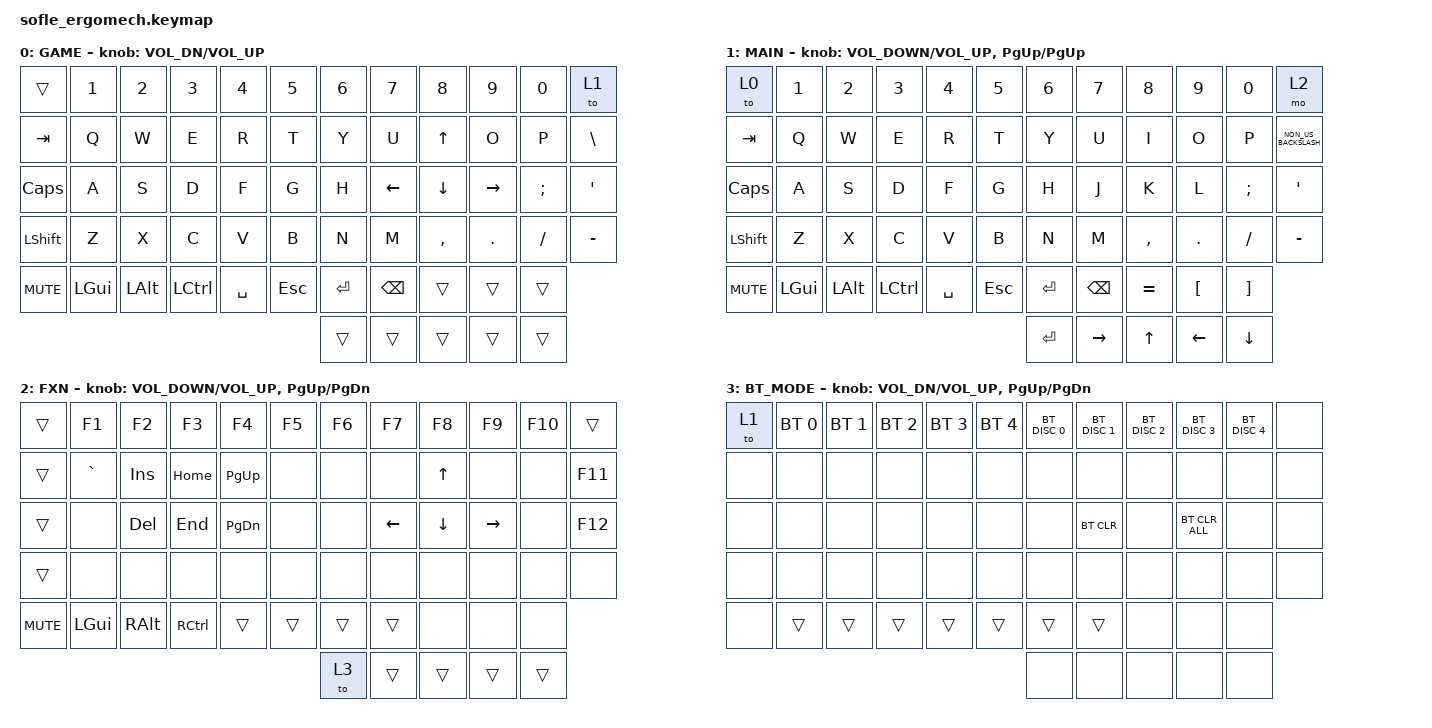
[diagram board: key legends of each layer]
/*
 * Copyright (c) 2020 The ZMK Contributors
 *
 * SPDX-License-Identifier: MIT
 */

#include <behaviors.dtsi>
#include <dt-bindings/zmk/bt.h>
#include <dt-bindings/zmk/keys.h>

#define BASE 0
#define LOWER 1
#define RAISE 2
#define ADJUST 3

/ {
    // Activate ADJUST layer by pressing raise and lower

    conditional_layers { compatible = "zmk,conditional-layers"; };

    keymap {
        compatible = "zmk,keymap";

        Game {
            bindings = <
&trans      &kp N1    &kp N2    &kp N3     &kp N4     &kp N5   &kp N6   &kp N7    &kp N8     &kp N9     &kp N0    &to 1
&kp TAB     &kp Q     &kp W     &kp E      &kp R      &kp T    &kp Y    &kp U     &kp UP     &kp O      &kp P     &kp BSLH
&kp CAPS    &kp A     &kp S     &kp D      &kp F      &kp G    &kp H    &kp LEFT  &kp DOWN   &kp RIGHT  &kp SEMI  &kp SQT
&kp LSHFT   &kp Z     &kp X     &kp C      &kp V      &kp B    &kp N    &kp M     &kp COMMA  &kp DOT    &kp FSLH  &kp MINUS
&kp C_MUTE  &kp LGUI  &kp LALT  &kp LCTRL  &kp SPACE  &kp ESC  &kp RET  &kp BSPC  &trans     &trans     &trans
                                                               &trans   &trans    &trans     &trans     &trans
            >;

            sensor-bindings = <&inc_dec_kp C_VOL_DN C_VOL_UP>;
            label = "GAME";
        };

        Main {
            label = "MAIN";

            // ------------------------------------------------------------------------------------------------------------
            // |   `   |  1  |  2  |  3   |  4   |  5   |                   |  6   |  7    |  8    |  9   |   0   |       |
            // |  ESC  |  Q  |  W  |  E   |  R   |  T   |                   |  Y   |  U    |  I    |  O   |   P   | BKSPC |
            // |  TAB  |  A  |  S  |  D   |  F   |  G   |                   |  H   |  J    |  K    |  L   |   ;   |   '   |
            // | SHIFT |  Z  |  X  |  C   |  V   |  B   |  MUTE  |  |       |  N   |  M    |  ,    |  .   |   /   | SHIFT |
            //               | GUI | ALT  | CTRL | LOWER|  ENTER |  | SPACE | RAISE| CTRL  | ALT   | GUI  |

            bindings = <
&to 0       &kp N1    &kp N2    &kp N3     &kp N4     &kp N5   &kp N6     &kp N7     &kp N8        &kp N9            &kp N0             &mo 2
&kp TAB     &kp Q     &kp W     &kp E      &kp R      &kp T    &kp Y      &kp U      &kp I         &kp O             &kp P              &kp NON_US_BACKSLASH
&kp CAPS    &kp A     &kp S     &kp D      &kp F      &kp G    &kp H      &kp J      &kp K         &kp L             &kp SEMI           &kp SQT
&kp LSHFT   &kp Z     &kp X     &kp C      &kp V      &kp B    &kp N      &kp M      &kp COMMA     &kp DOT           &kp FSLH           &kp MINUS
&kp C_MUTE  &kp LGUI  &kp LALT  &kp LCTRL  &kp SPACE  &kp ESC  &kp ENTER  &kp BSPC   &kp EQUAL     &kp LEFT_BRACKET  &kp RIGHT_BRACKET
                                                               &kp ENTER  &kp RIGHT  &kp UP_ARROW  &kp LEFT          &kp DOWN
            >;

            sensor-bindings =
                <&inc_dec_kp C_VOLUME_DOWN C_VOLUME_UP>,
                <&inc_dec_kp PG_UP PG_UP>;
        };

        Function {
            label = "FXN";

            // TODO: Some binds are waiting for shifted keycode support.
            // ------------------------------------------------------------------------------------------------------------
            // |       |  F1 |  F2 |  F3  |  F4  |  F5  |                   |  F6  |  F7   |  F8   |  F9  |  F10  |  F11  |
            // |   `   |  1  |  2  |  3   |  4   |  5   |                   |  6   |  7    |  8    |  9   |   0   |  F12  |
            // |       |  !  |  @  |  #   |  $   |  %   |                   |  ^   |  &    |  *    |  (   |   )   |   |   |
            // |       |  =  |  -  |  +   |  {   |  }   |        |  |       |  [   |  ]    |  ;    |  :   |   \   |       |
            //               |     |      |      |      |        |  |       |      |       |       |      |

            bindings = <
&trans      &kp F1        &kp F2         &kp F3     &kp F4         &kp F5  &kp F6  &kp F7    &kp F8        &kp F9     &kp F10  &trans
&trans      &kp GRAVE     &kp INSERT     &kp HOME   &kp PAGE_UP    &none   &none   &none     &kp UP_ARROW  &none      &none    &kp F11
&trans      &none         &kp DEL        &kp END    &kp PAGE_DOWN  &none   &none   &kp LEFT  &kp DOWN      &kp RIGHT  &none    &kp F12
&trans      &none         &none          &none      &none          &none   &none   &none     &none         &none      &none    &none
&kp C_MUTE  &kp LEFT_GUI  &kp RIGHT_ALT  &kp RCTRL  &trans         &trans  &trans  &trans    &none         &none      &none
                                                                           &to 3   &trans    &trans        &trans     &trans
            >;

            sensor-bindings =
                <&inc_dec_kp C_VOLUME_DOWN C_VOLUME_UP>,
                <&inc_dec_kp PG_UP PG_DN>;
        };

        Bluetooth {
            label = "BT_MODE";

            // ------------------------------------------------------------------------------------------------------------
            // | BTCLR | BT1  | BT2  |  BT3  |  BT4  |  BT5 |                |      |      |       |      |       |       |
            // |       | INS  | PSCR | GUI   |       |      |                | PGUP |      |   ^   |      |       |       |
            // |       | ALT  | CTRL | SHIFT |       | CAPS |                | PGDN |   <- |   v   |  ->  |  DEL  | BKSPC |
            // |       | UNDO | CUT  | COPY  | PASTE |      |      |  |      |      |      |       |      |       |       |
            //                |      |       |       |      |      |  |      |      |      |       |      |

            bindings = <
&to 1  &bt BT_SEL 0  &bt BT_SEL 1  &bt BT_SEL 2  &bt BT_SEL 3  &bt BT_SEL 4  &bt BT_DISC 0  &bt BT_DISC 1  &bt BT_DISC 2  &bt BT_DISC 3   &bt BT_DISC 4  &none
&none  &none         &none         &none         &none         &none         &none          &none          &none          &none           &none          &none
&none  &none         &none         &none         &none         &none         &none          &bt BT_CLR     &none          &bt BT_CLR_ALL  &none          &none
&none  &none         &none         &none         &none         &none         &none          &none          &none          &none           &none          &none
&none  &trans        &trans        &trans        &trans        &trans        &trans         &trans         &none          &none           &none
                                                                             &none          &none          &none          &none           &none
            >;

            sensor-bindings =
                <&inc_dec_kp C_VOL_DN C_VOL_UP>,
                <&inc_dec_kp PG_UP PG_DN>;
        };
    };
};
